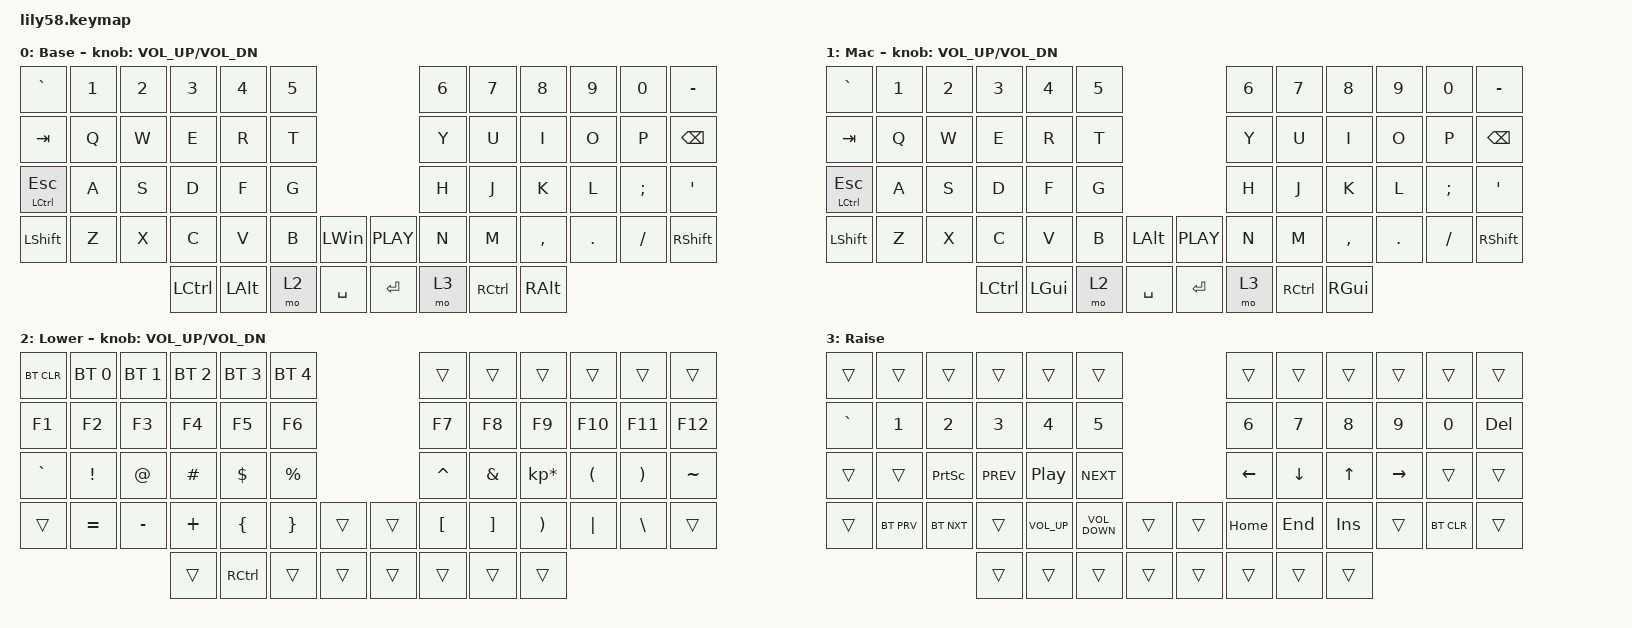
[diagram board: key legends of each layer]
/*
 * Copyright (c) 2020 The ZMK Contributors
 *
 * SPDX-License-Identifier: MIT
 */

#include <behaviors.dtsi>
#include <dt-bindings/zmk/bt.h>
#include <dt-bindings/zmk/keys.h>

/ {
    combos {
        compatible = "zmk,combos";

        gui-l {
            bindings = <&kp LEFT_GUI>;
            key-positions = <50 51>;
        };

        gui-r {
            bindings = <&kp RIGHT_GUI>;
            key-positions = <56 57>;
        };

        mac_mode {
            bindings = <&tog 1>;
            key-positions = <42 43 52>;
        };

        win_mode {
            bindings = <&tog 0>;
            key-positions = <42 43 55>;
            timeout-ms = <0>;
        };
    };

    keymap {
        compatible = "zmk,keymap";

        base_layer {
            // ------------------------------------------------------------------------------------------------------------
            // |  ESC  |  1  |  2  |  3   |  4   |  5   |                   |  6   |  7    |  8    |  9   |   0   |   `   |
            // |  TAB  |  Q  |  W  |  E   |  R   |  T   |                   |  Y   |  U    |  I    |  O   |   P   |   -   |
            // |  CTRL |  A  |  S  |  D   |  F   |  G   |                   |  H   |  J    |  K    |  L   |   ;   |   '   |
            // | SHIFT |  Z  |  X  |  C   |  V   |  B   |   "["  |  |  "]"  |  N   |  M    |  ,    |  .   |   /   | SHIFT |
            //                     | ALT  | GUI  | LOWER|  SPACE |  | ENTER | RAISE| BSPC  | GUI   |

            display-name = "Base";
            bindings = <
&kp GRAVE         &kp N1  &kp N2  &kp N3            &kp N4        &kp N5                              &kp N6  &kp N7             &kp N8         &kp N9   &kp N0    &kp MINUS
&kp TAB           &kp Q   &kp W   &kp E             &kp R         &kp T                               &kp Y   &kp U              &kp I          &kp O    &kp P     &kp BACKSPACE
&mt LCTRL ESCAPE  &kp A   &kp S   &kp D             &kp F         &kp G                               &kp H   &kp J              &kp K          &kp L    &kp SEMI  &kp SQT
&kp LSHFT         &kp Z   &kp X   &kp C             &kp V         &kp B   &kp LEFT_WIN    &kp C_PLAY  &kp N   &kp M              &kp COMMA      &kp DOT  &kp FSLH  &kp RSHFT
                                  &kp LEFT_CONTROL  &kp LEFT_ALT  &mo 2   &kp SPACE       &kp RET     &mo 3   &kp RIGHT_CONTROL  &kp RIGHT_ALT
            >;

            sensor-bindings = <&inc_dec_kp C_VOL_UP C_VOL_DN>;
        };

        mac_layer {
            display-name = "Mac";
            bindings = <
&kp GRAVE         &kp N1  &kp N2  &kp N3            &kp N4        &kp N5                              &kp N6  &kp N7             &kp N8         &kp N9   &kp N0    &kp MINUS
&kp TAB           &kp Q   &kp W   &kp E             &kp R         &kp T                               &kp Y   &kp U              &kp I          &kp O    &kp P     &kp BACKSPACE
&mt LCTRL ESCAPE  &kp A   &kp S   &kp D             &kp F         &kp G                               &kp H   &kp J              &kp K          &kp L    &kp SEMI  &kp SQT
&kp LSHFT         &kp Z   &kp X   &kp C             &kp V         &kp B   &kp LEFT_ALT    &kp C_PLAY  &kp N   &kp M              &kp COMMA      &kp DOT  &kp FSLH  &kp RSHFT
                                  &kp LEFT_CONTROL  &kp LEFT_GUI  &mo 2   &kp SPACE       &kp RET     &mo 3   &kp RIGHT_CONTROL  &kp RIGHT_GUI
            >;

            sensor-bindings = <&inc_dec_kp C_VOL_UP C_VOL_DN>;
        };

        lower_layer {
            // ------------------------------------------------------------------------------------------------------------
            // | BTCLR | BT1 | BT2 |  BT3 |  BT4 |  BT5 |                   |      |       |       |      |       |       |
            // |  F1   |  F2 |  F3 |  F4  |  F5  |  F6  |                   |  F7  |  F8   |  F9   |  F10 |  F11  |  F12  |
            // |   `   |  !  |  @  |  #   |  $   |  %   |                   |  ^   |  &    |  *    |  (   |   )   |   ~   |
            // |       |     |     |      |      |      |        |  |       |      |  _    |  +    |  {   |   }   |  "|"  |
            //                     |      |      |      |        |  |       |      |       |       |

            display-name = "Lower";
            bindings = <
&bt BT_CLR  &bt BT_SEL 0  &bt BT_SEL 1  &bt BT_SEL 2  &bt BT_SEL 3    &bt BT_SEL 4                       &trans            &trans             &trans                 &trans    &trans         &trans
&kp F1      &kp F2        &kp F3        &kp F4        &kp F5          &kp F6                             &kp F7            &kp F8             &kp F9                 &kp F10   &kp F11        &kp F12
&kp GRAVE   &kp EXCL      &kp AT        &kp HASH      &kp DOLLAR      &kp PRCNT                          &kp CARET         &kp AMPS           &kp KP_MULTIPLY        &kp LPAR  &kp RPAR       &kp TILDE
&trans      &kp EQUAL     &kp MINUS     &kp PLUS      &kp LEFT_BRACE  &kp RIGHT_BRACE  &trans    &trans  &kp LEFT_BRACKET  &kp RIGHT_BRACKET  &kp RIGHT_PARENTHESIS  &kp PIPE  &kp BACKSLASH  &trans
                                        &trans        &kp RCTRL       &trans           &trans    &trans  &trans            &trans             &trans
            >;

            sensor-bindings = <&inc_dec_kp C_VOL_UP C_VOL_DN>;
        };

        raise_layer {
            // ------------------------------------------------------------------------------------------------------------
            // |       |     |     |      |      |      |                   |      |       |       |      |       |       |
            // |   `   |  1  |  2  |  3   |  4   |  5   |                   |  6   |   7   |   8   |  9   |   0   |       |
            // |   F1  |  F2 |  F3 |  F4  |  F5  |  F6  |                   |      |   <-  |   v   |  ^   |  ->   |       |
            // |   F7  |  F8 |  F9 |  F10 |  F11 |  F12 |        |  |       |  +   |   -   |   =   |  [   |   ]   |   \   |
            //                     |      |      |      |        |  |       |      |       |       |

            display-name = "Raise";
            bindings = <
&trans     &trans      &trans           &trans      &trans            &trans                               &trans          &trans    &trans        &trans     &trans      &trans
&kp GRAVE  &kp N1      &kp N2           &kp N3      &kp N4            &kp N5                               &kp N6          &kp N7    &kp N8        &kp N9     &kp N0      &kp DEL
&trans     &trans      &kp PRINTSCREEN  &kp C_PREV  &kp C_PLAY_PAUSE  &kp C_NEXT                           &kp LEFT_ARROW  &kp DOWN  &kp UP_ARROW  &kp RIGHT  &trans      &trans
&trans     &bt BT_PRV  &bt BT_NXT       &trans      &kp C_VOLUME_UP   &kp C_VOLUME_DOWN  &trans    &trans  &kp HOME        &kp END   &kp INSERT    &trans     &bt BT_CLR  &trans
                                        &trans      &trans            &trans             &trans    &trans  &trans          &trans    &trans
            >;
        };

        extra_1 {
            status = "reserved";
        };

        extra_2 {
            status = "reserved";
        };

        extra_3 {
            status = "reserved";
        };
    };
};
